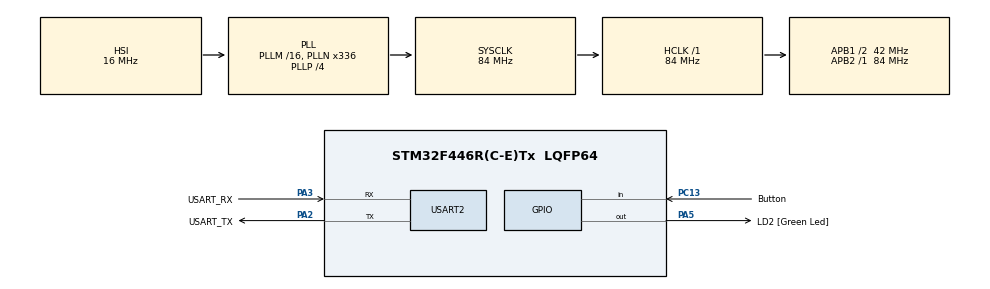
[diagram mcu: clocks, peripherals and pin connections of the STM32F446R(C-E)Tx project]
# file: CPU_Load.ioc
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Mcu.Family=STM32F4
Mcu.Name=STM32F446R(C-E)Tx
Mcu.Package=LQFP64
NVIC.PriorityGroup=NVIC_PRIORITYGROUP_0
PA13.GPIO_Label=TMS
PA13.Mode=Serial_Wire
PA13.Signal=SYS_JTMS-SWDIO
PA14.GPIO_Label=TCK
PA14.Mode=Serial_Wire
PA14.Signal=SYS_JTCK-SWCLK
PA2.GPIO_Label=USART_TX
PA2.Mode=Asynchronous
PA2.Signal=USART2_TX
PA3.GPIO_Label=USART_RX
PA3.Mode=Asynchronous
PA3.Signal=USART2_RX
PA5.GPIO_Label=LD2 [Green Led]
PA5.Signal=GPIO_Output
PB3.GPIO_Label=SWO
PB3.Signal=SYS_JTDO-SWO
PC13.GPIO_Label=Button
PC13.Signal=GPIO_Input
PC14-OSC32_IN.Mode=LSE-External-Oscillator
PC14-OSC32_IN.Signal=RCC_OSC32_IN
PC15-OSC32_OUT.Mode=LSE-External-Oscillator
PC15-OSC32_OUT.Signal=RCC_OSC32_OUT
PH0-OSC_IN.Mode=HSE-External-Oscillator
PH0-OSC_IN.Signal=RCC_OSC_IN
PH1-OSC_OUT.Mode=HSE-External-Oscillator
PH1-OSC_OUT.Signal=RCC_OSC_OUT
ProjectManager.HeapSize=0x200
ProjectManager.StackSize=0x400
ProjectManager.TargetToolchain=SW4STM32
RCC.48MHZClocksFreq_Value=84000000
RCC.AHBFreq_Value=84000000
RCC.APB1CLKDivider=RCC_HCLK_DIV2
RCC.APB1Freq_Value=42000000
RCC.APB1TimFreq_Value=84000000
RCC.APB2Freq_Value=84000000
RCC.APB2TimFreq_Value=84000000
RCC.CortexFreq_Value=84000000
RCC.FLatency-AdvancedSettings=FLASH_LATENCY_2
RCC.HCLKFreq_Value=84000000
RCC.HSE_VALUE=8000000
RCC.HSI_VALUE=16000000
RCC.PLLN=336
RCC.PLLP=RCC_PLLP_DIV4
RCC.SYSCLKFreq_VALUE=84000000
RCC.SYSCLKSource=RCC_SYSCLKSOURCE_PLLCLK
RCC.USBFreq_Value=168000000
RCC.VCOOutputFreq_Value=336000000
USART2.VirtualMode=VM_ASYNC
board=NUCLEO-F446RE

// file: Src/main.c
/* USER CODE BEGIN Header */
/**
  ******************************************************************************
  * @file           : main.c
  * @brief          : Main program body
  ******************************************************************************
  * @attention
  *
  * <h2><center>&copy; Copyright (c) 2020 STMicroelectronics.
  * All rights reserved.</center></h2>
  *
  * This software component is licensed by ST under BSD 3-Clause license,
  * the "License"; You may not use this file except in compliance with the
  * License. You may obtain a copy of the License at:
  *                        opensource.org/licenses/BSD-3-Clause
  *
  ******************************************************************************
  */
/* USER CODE END Header */

#include "main.h"

/* USER CODE BEGIN Includes */
#include "string.h"
#include "stdio.h"
#include "stdarg.h"
#include "stdlib.h"

#include "cpu_load.h"
/* USER CODE END Includes */

UART_HandleTypeDef huart2;

void SystemClock_Config(void);
static void MX_GPIO_Init(void);
static void MX_USART2_UART_Init(void);

/* USER CODE BEGIN 0 */
void UART_Printf(const char* fmt, ...) {
    char buff[256];
    va_list args;
    va_start(args, fmt);
    vsnprintf(buff, sizeof(buff), fmt, args);
    HAL_UART_Transmit(&huart2, (uint8_t*)buff, strlen(buff), HAL_MAX_DELAY);
    va_end(args);
}

/* CPU load structure */
CPULOAD_t CPU_LOAD;

__IO uint32_t i;
/* USER CODE END 0 */

int main(void)
{

  /* MCU Configuration--------------------------------------------------------*/

  /* Reset of all peripherals, Initializes the Flash interface and the Systick. */
  HAL_Init();

  /* Configure the system clock */
  SystemClock_Config();

  /* Initialize all configured peripherals */
  MX_GPIO_Init();
  MX_USART2_UART_Init();
  /* USER CODE BEGIN 2 */
  CPULOAD_Init(&CPU_LOAD);

  UART_Printf("Ready\r\n");
  /* USER CODE END 2 */

  /* Infinite loop */
  while (1)
  {

    /* USER CODE BEGIN 3 */
    if (CPU_LOAD.Updated) {
        UART_Printf("W: %u; S: %u; Load: %5.2f\r\n", CPU_LOAD.WCNT, CPU_LOAD.SCNT, CPU_LOAD.Load);
    }

    /* Toggle leds */
    HAL_GPIO_TogglePin(LD2_GPIO_Port, LD2_Pin);

    /* If button pressed, do some useless counting */
    if (HAL_GPIO_ReadPin(Button_GPIO_Port, Button_Pin) == 0) {
        /* Count something to waste some time before entering to sleep mode */
        i = 0;
        while (i++ < 0x1FFF);
    }

    /* Go low power mode, sleep mode until next interrupt (Systick or anything else), measure CPU load */
    CPULOAD_GoToSleepMode(&CPU_LOAD);
  }
  /* USER CODE END 3 */
}

void SystemClock_Config(void)
{
  RCC_OscInitTypeDef RCC_OscInitStruct = {0};
  RCC_ClkInitTypeDef RCC_ClkInitStruct = {0};

  /** Configure the main internal regulator output voltage
  */
  __HAL_RCC_PWR_CLK_ENABLE();
  __HAL_PWR_VOLTAGESCALING_CONFIG(PWR_REGULATOR_VOLTAGE_SCALE3);
  /** Initializes the CPU, AHB and APB busses clocks
  */
  RCC_OscInitStruct.OscillatorType = RCC_OSCILLATORTYPE_HSI;
  RCC_OscInitStruct.HSIState = RCC_HSI_ON;
  RCC_OscInitStruct.HSICalibrationValue = RCC_HSICALIBRATION_DEFAULT;
  RCC_OscInitStruct.PLL.PLLState = RCC_PLL_ON;
  RCC_OscInitStruct.PLL.PLLSource = RCC_PLLSOURCE_HSI;
  RCC_OscInitStruct.PLL.PLLM = 16;
  RCC_OscInitStruct.PLL.PLLN = 336;
  RCC_OscInitStruct.PLL.PLLP = RCC_PLLP_DIV4;
  RCC_OscInitStruct.PLL.PLLQ = 2;
  RCC_OscInitStruct.PLL.PLLR = 2;
  if (HAL_RCC_OscConfig(&RCC_OscInitStruct) != HAL_OK)
  {
    Error_Handler();
  }
  /** Initializes the CPU, AHB and APB busses clocks
  */
  RCC_ClkInitStruct.ClockType = RCC_CLOCKTYPE_HCLK|RCC_CLOCKTYPE_SYSCLK
                              |RCC_CLOCKTYPE_PCLK1|RCC_CLOCKTYPE_PCLK2;
  RCC_ClkInitStruct.SYSCLKSource = RCC_SYSCLKSOURCE_PLLCLK;
  RCC_ClkInitStruct.AHBCLKDivider = RCC_SYSCLK_DIV1;
  RCC_ClkInitStruct.APB1CLKDivider = RCC_HCLK_DIV2;
  RCC_ClkInitStruct.APB2CLKDivider = RCC_HCLK_DIV1;

  if (HAL_RCC_ClockConfig(&RCC_ClkInitStruct, FLASH_LATENCY_2) != HAL_OK)
  {
    Error_Handler();
  }
}

static void MX_USART2_UART_Init(void)
{

  huart2.Instance = USART2;
  huart2.Init.BaudRate = 115200;
  huart2.Init.WordLength = UART_WORDLENGTH_8B;
  huart2.Init.StopBits = UART_STOPBITS_1;
  huart2.Init.Parity = UART_PARITY_NONE;
  huart2.Init.Mode = UART_MODE_TX_RX;
  huart2.Init.HwFlowCtl = UART_HWCONTROL_NONE;
  huart2.Init.OverSampling = UART_OVERSAMPLING_16;
  if (HAL_UART_Init(&huart2) != HAL_OK)
  {
    Error_Handler();
  }

}

static void MX_GPIO_Init(void)
{
  GPIO_InitTypeDef GPIO_InitStruct = {0};

  /* GPIO Ports Clock Enable */
  __HAL_RCC_GPIOC_CLK_ENABLE();
  __HAL_RCC_GPIOH_CLK_ENABLE();
  __HAL_RCC_GPIOA_CLK_ENABLE();
  __HAL_RCC_GPIOB_CLK_ENABLE();

  /*Configure GPIO pin Output Level */
  HAL_GPIO_WritePin(LD2_GPIO_Port, LD2_Pin, GPIO_PIN_RESET);

  /*Configure GPIO pin : Button_Pin */
  GPIO_InitStruct.Pin = Button_Pin;
  GPIO_InitStruct.Mode = GPIO_MODE_INPUT;
  GPIO_InitStruct.Pull = GPIO_NOPULL;
  HAL_GPIO_Init(Button_GPIO_Port, &GPIO_InitStruct);

  /*Configure GPIO pin : LD2_Pin */
  GPIO_InitStruct.Pin = LD2_Pin;
  GPIO_InitStruct.Mode = GPIO_MODE_OUTPUT_PP;
  GPIO_InitStruct.Pull = GPIO_NOPULL;
  GPIO_InitStruct.Speed = GPIO_SPEED_FREQ_LOW;
  HAL_GPIO_Init(LD2_GPIO_Port, &GPIO_InitStruct);

}

void Error_Handler(void)
{
}

/************************ (C) COPYRIGHT STMicroelectronics *****END OF FILE****/
